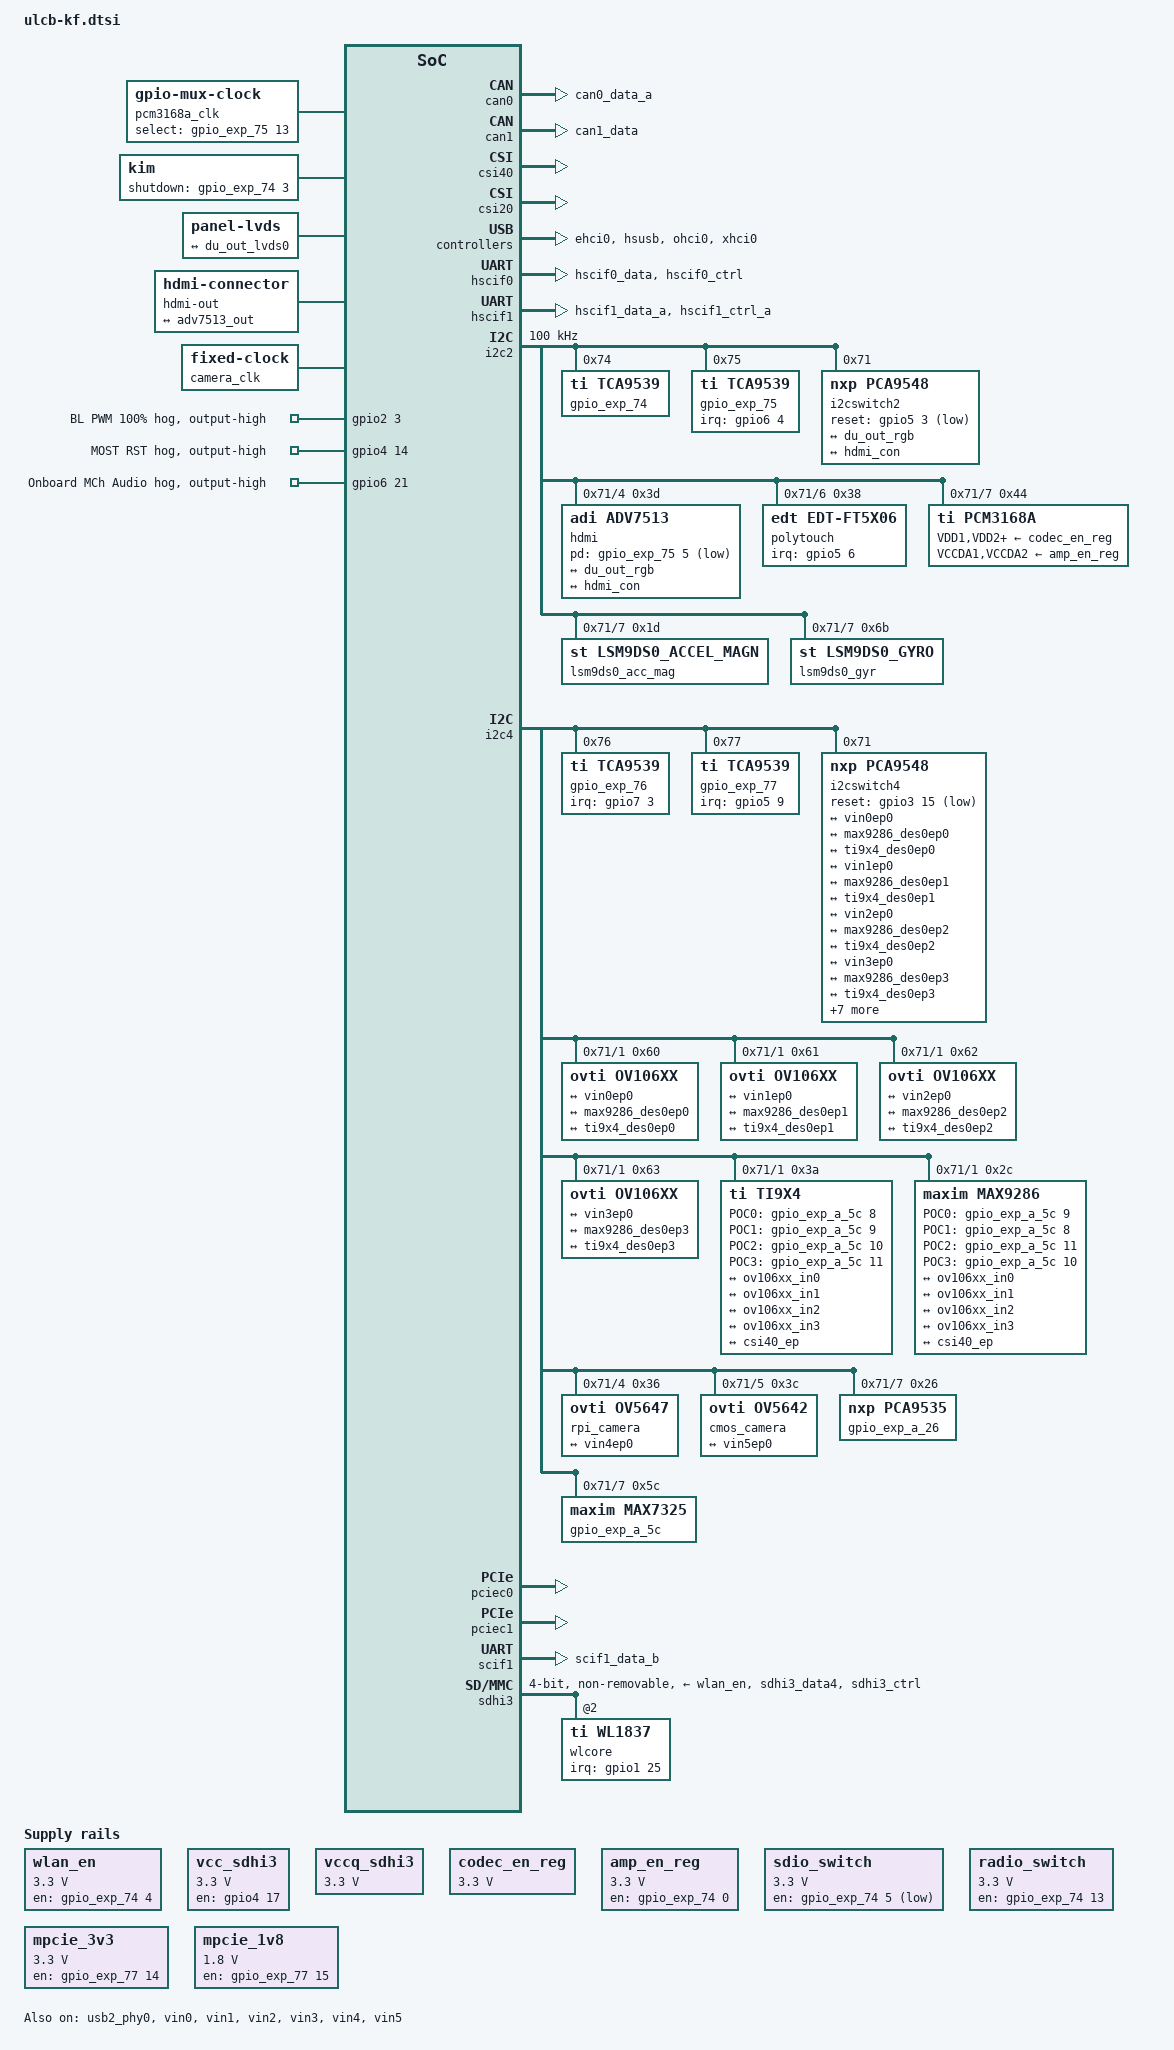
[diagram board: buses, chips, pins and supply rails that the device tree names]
/*
 * Device Tree Source for the Kingfisher (ULCB extension) board
 *
 * Copyright (C) 2017 Renesas Electronics Corp.
 * Copyright (C) 2017 Cogent Embedded, Inc.
 *
 * This file is licensed under the terms of the GNU General Public License
 * version 2.  This program is licensed "as is" without any warranty of any
 * kind, whether express or implied.
 */

/ {
	aliases {
		serial1 = &hscif0;
		serial2 = &scif1;
		serial3 = &hscif1;
	};

	pcm3168a_clk: pcm3168a_clk {
		compatible = "gpio-mux-clock";
		clocks = <&cs2000>, <&audio_clk_a>;
		#clock-cells = <0>;
		select-gpios = <&gpio_exp_75 13 GPIO_ACTIVE_HIGH>;
	};

	wlan_en: regulator@4 {
		compatible = "regulator-fixed";
		regulator-name = "wlan-en-regulator";

		regulator-min-microvolt = <3300000>;
		regulator-max-microvolt = <3300000>;

		gpio = <&gpio_exp_74 4 GPIO_ACTIVE_HIGH>;
		enable-active-high;
	};

	vcc_sdhi3: regulator@41 {
		compatible = "regulator-fixed";

		regulator-name = "SDHI3 Vcc";
		regulator-min-microvolt = <3300000>;
		regulator-max-microvolt = <3300000>;

		gpio = <&gpio4 17 GPIO_ACTIVE_HIGH>;
		enable-active-high;
	};

	vccq_sdhi3: regulator@5 {
		compatible = "regulator-fixed";

		regulator-name = "SDHI3 VccQ";
		regulator-min-microvolt = <3300000>;
		regulator-max-microvolt = <3300000>;
	};

	codec_en_reg: regulator@6 {
		compatible = "regulator-fixed";

		regulator-name = "PCM3168A Vcc Vdd";
		regulator-min-microvolt = <3300000>;
		regulator-max-microvolt = <3300000>;
	};

	amp_en_reg: regulator@7 {
		compatible = "regulator-fixed";
		regulator-name = "amp-en-regulator";
		regulator-min-microvolt = <3300000>;
		regulator-max-microvolt = <3300000>;

		gpio = <&gpio_exp_74 0 0>;

		startup-delay-us = <0>;
		enable-active-high;
	};

	sdio_switch: regulator@9 {
		compatible = "regulator-fixed";
		regulator-name = "wifi_on";
		regulator-min-microvolt = <3300000>;
		regulator-max-microvolt = <3300000>;
		gpio = <&gpio_exp_74 5 0>;
		enable-active-low;
		regulator-always-on;
	};

	radio_switch: regulator@11 {
		compatible = "regulator-fixed";
		regulator-name = "radio_on";
		regulator-min-microvolt = <3300000>;
		regulator-max-microvolt = <3300000>;
		gpio = <&gpio_exp_74 13 GPIO_ACTIVE_HIGH>;
		enable-active-high;
		regulator-always-on;
	};

	mpcie_3v3: regulator@12 {
		compatible = "regulator-fixed";
		regulator-name = "mPCIe 3v3";
		regulator-min-microvolt = <3300000>;
		regulator-max-microvolt = <3300000>;
		gpio = <&gpio_exp_77 14 GPIO_ACTIVE_HIGH>;
		enable-active-high;
	};

	mpcie_1v8: regulator@13 {
		compatible = "regulator-fixed";
		regulator-name = "mPCIe 1v8";
		regulator-min-microvolt = <1800000>;
		regulator-max-microvolt = <1800000>;
		gpio = <&gpio_exp_77 15 GPIO_ACTIVE_HIGH>;
		startup-delay-us = <200000>;
		enable-active-high;
	};

	kim {
		compatible = "kim";
		shutdown-gpios = <&gpio_exp_74 3 GPIO_ACTIVE_HIGH>;
		/* serial1 */
		dev_name = "/dev/ttySC1";
		flow_cntrl = <1>;
		/* int div 8 hscif@26.6666656MHz */
		baud_rate = <3333332>;
	};

	btwilink {
		compatible = "btwilink";
	};

	sound_ext: sound@0 {
		pinctrl-0 = <&sound_0_pins>;
		pinctrl-names = "default";
		compatible = "simple-audio-card";

		simple-audio-card,format = "left_j";
		simple-audio-card,name = "pcm3168a";

		simple-audio-card,bitclock-master = <&sound_ext_master>;
		simple-audio-card,frame-master = <&sound_ext_master>;
		sound_ext_master: simple-audio-card,cpu@0 {
			sound-dai = <&rcar_sound 0>;
			dai-tdm-slot-num = <8>;
			dai-tdm-slot-width = <32>;
		};

		simple-audio-card,codec@0 {
			sound-dai = <&pcm3168a>;
			dai-tdm-slot-num = <8>;
			dai-tdm-slot-width = <32>;
			system-clock-frequency = <24576000>;
		};
	};

	/delete-node/sound;

	rsnd_ak4613: sound@1 {
		pinctrl-0 = <&sound_pins>;
		pinctrl-names = "default";
		compatible = "simple-audio-card";

		simple-audio-card,format = "left_j";
		simple-audio-card,name = "ak4613";

		simple-audio-card,bitclock-master = <&sndcpu>;
		simple-audio-card,frame-master = <&sndcpu>;

		sndcpu: simple-audio-card,cpu@1 {
			sound-dai = <&rcar_sound 1>;
		};

		sndcodec: simple-audio-card,codec@1 {
			sound-dai = <&ak4613>;
		};
	};

	sound_radio: sound@2 {
		pinctrl-0 = <&sound_2_pins>;
		pinctrl-names = "default";
		compatible = "simple-audio-card";

		simple-audio-card,format = "i2s";
		simple-audio-card,name = "radio";

		simple-audio-card,bitclock-master = <&sound_radio_master>;
		simple-audio-card,frame-master = <&sound_radio_master>;
		simple-audio-card,cpu@2 {
			sound-dai = <&rcar_sound 2>;
		};

		sound_radio_master: simple-audio-card,codec@2 {
			sound-dai = <&radio>;
			system-clock-frequency = <12288000>;
		};
	};

	sound_wl18xx: sound@3 {
		pinctrl-0 = <&sound_3_pins>;
		pinctrl-names = "default";
		compatible = "simple-audio-card";

		simple-audio-card,format = "i2s";
		simple-audio-card,name = "wl18xx";

		simple-audio-card,bitclock-master = <&sound_wl18xx_master>;
		simple-audio-card,frame-master = <&sound_wl18xx_master>;
		sound_wl18xx_master: simple-audio-card,cpu@3 {
			sound-dai = <&rcar_sound 3>;
		};

		simple-audio-card,codec@3 {
			sound-dai = <&wl18xx_pcm>;
		};
	};

	lvds {
		compatible = "panel-lvds";

		width-mm = <210>;
		height-mm = <158>;

		data-mapping = "jeida-24";

		panel-timing {
			/* 1280x800 @60Hz */
			clock-frequency = <65000000>;
			hactive = <1280>;
			vactive = <800>;
			hsync-len = <40>;
			hfront-porch = <80>;
			hback-porch = <40>;
			vfront-porch = <14>;
			vback-porch = <14>;
			vsync-len = <4>;
		};

		port {
			lvds_in: endpoint {
				remote-endpoint = <&du_out_lvds0>;
			};
		};
	};

	hdmi-out {
		compatible = "hdmi-connector";
		type = "a";

		port {
			hdmi_con: endpoint {
				remote-endpoint = <&adv7513_out>;
			};
		};
	};

	radio: si468x@0 {
		compatible = "si,si468x-pcm";
		status = "okay";

		#sound-dai-cells = <0>;
	};

	wl18xx_pcm: wl18xx_pcm@0 {
		compatible = "ti,wl18xx-pcm";
		status = "okay";

		#sound-dai-cells = <0>;
	};

	camera_clk: camera_clk {
		compatible = "fixed-clock";
		#clock-cells = <0>;
		clock-frequency = <24000000>;
		clock-output-names = "mclk";
	};
};

&can0 {
	pinctrl-0 = <&can0_pins>;
	pinctrl-names = "default";
	status = "okay";
};

&can1 {
	pinctrl-0 = <&can1_pins>;
	pinctrl-names = "default";
	status = "okay";
};

&canfd {
	pinctrl-0 = <&canfd0_pins &canfd1_pins>;
	pinctrl-names = "default";
	status = "disabled";

	channel0 {
		status = "okay";
	};

	channel1 {
		status = "okay";
	};
};

&csi40 {
	status = "okay";

	virtual,channel {
		csi2_vc0 {
			data,type = "ycbcr422";
			receive,vc = <0>;
		};
		csi2_vc1 {
			data,type = "ycbcr422";
			receive,vc = <1>;
		};
		csi2_vc2 {
			data,type = "ycbcr422";
			receive,vc = <2>;
		};
		csi2_vc3 {
			data,type = "ycbcr422";
			receive,vc = <3>;
		};
	};

	port {
		#address-cells = <1>;
		#size-cells = <0>;

		csi40_ep: endpoint {
			clock-lanes = <0>;
			data-lanes = <1 2 3 4>;
			csi-rate = <300>;
		};
	};
};

&csi20 {
	status = "okay";

	virtual,channel {
		csi2_vc0 {
			data,type = "raw8";
			receive,vc = <0>;
		};
	};

	port {
		#address-cells = <1>;
		#size-cells = <0>;

		csi20_ep: endpoint {
			clock-lanes = <0>;
			data-lanes = <1 2>;
			csi-rate = <280>;
		};
	};
};

&du {
	pinctrl-0 = <&du_pins>;
	pinctrl-names = "default";
};

&ehci0 {
	status = "okay";
};

&gpio2 {
	bl_pwm {
		gpio-hog;
		gpios = <3 GPIO_ACTIVE_HIGH>;
		output-high;
		line-name = "BL PWM 100%";
	};
};

&gpio4 {
	most_rst {
		gpio-hog;
		gpios = <14 GPIO_ACTIVE_HIGH>;
		output-high;
		line-name = "MOST RST";
	};
};

&gpio6 {
	audio_sw {
		gpio-hog;
		gpios = <21 GPIO_ACTIVE_HIGH>;
		output-high;
		line-name = "Onboard MCh Audio";
	};
};

&hscif0 {
	pinctrl-0 = <&hscif0_pins>;
	pinctrl-names = "default";
	uart-has-rtscts;

	status = "okay";
};

&hscif1 {
	pinctrl-0 = <&hscif1_pins>;
	pinctrl-names = "default";

	status = "okay";
};

&hsusb {
	status = "okay";
};

&i2c2 {
	clock-frequency = <100000>;

	gpio_exp_74: gpio@74 {
		compatible = "ti,tca9539";
		reg = <0x74>;
		gpio-controller;
		#gpio-cells = <2>;
/*
		interrupt-controller;
		interrupt-parent = <&gpio6>;
		interrupts = <8 IRQ_TYPE_EDGE_FALLING>;
*/
		hub_pwen {
			gpio-hog;
			gpios = <6 GPIO_ACTIVE_HIGH>;
			output-high;
			line-name = "HUB pwen";
		};
		hub_rst {
			gpio-hog;
			gpios = <7 GPIO_ACTIVE_HIGH>;
			output-high;
			line-name = "HUB rst";
		};
		otg_offvbus {
			gpio-hog;
			gpios = <8 GPIO_ACTIVE_HIGH>;
			output-low;
			line-name = "OTG off VBUSn";
		};
		otg_extlpn {
			gpio-hog;
			gpios = <9 GPIO_ACTIVE_HIGH>;
			output-high;
			line-name = "OTG EXTLPn";
		};
		snd_rst {
			gpio-hog;
			gpios = <15 GPIO_ACTIVE_HIGH>;
			output-high;
			line-name = "pcm3168a reset";
		};
	};

	gpio_exp_75: gpio@75 {
		compatible = "ti,tca9539";
		reg = <0x75>;
		gpio-controller;
		#gpio-cells = <2>;
		interrupt-controller;
		interrupt-parent = <&gpio6>;
		interrupts = <4 IRQ_TYPE_EDGE_FALLING>;

		gps_rst {
			gpio-hog;
			gpios = <6 GPIO_ACTIVE_HIGH>;
			output-high;
			line-name = "GPS rst";
		};
		fpdl_shdn {
			gpio-hog;
			gpios = <9 GPIO_ACTIVE_HIGH>;
			output-high;
			line-name = "FPDLink shdn";
		};
	};

	i2cswitch2: i2c-switch@71 {
		compatible = "nxp,pca9548";
		#address-cells = <1>;
		#size-cells = <0>;
		reg = <0x71>;
		reset-gpios = <&gpio5 3 GPIO_ACTIVE_LOW>;
		i2c-mux-idle-disconnect;

		i2c@0 {
			#address-cells = <1>;
			#size-cells = <0>;
			reg = <0>;
			/* BCM node(s) */
		};

		i2c@1 {
			#address-cells = <1>;
			#size-cells = <0>;
			reg = <1>;
			/* USB3.0 HUB node(s) */
		};

		i2c@2 {
			#address-cells = <1>;
			#size-cells = <0>;
			reg = <2>;
			/* Power amp node(s) */
		};

		i2c@3 {
			#address-cells = <1>;
			#size-cells = <0>;
			reg = <3>;
			/* Radio node(s) */
		};

		i2c@4 {
			#address-cells = <1>;
			#size-cells = <0>;
			reg = <4>;

			hdmi@3d {
				compatible = "adi,adv7513";
				reg = <0x3d>;
//				interrupt-parent = <&gpio2>;
//				interrupts = <0 IRQ_TYPE_EDGE_BOTH>;
				pd-gpios = <&gpio_exp_75 5 GPIO_ACTIVE_LOW>;

				interlace-allowed;
				adi,input-depth = <8>;
				adi,input-colorspace = "rgb";
				adi,input-clock = "1x";
				adi,input-style = <1>;
				adi,input-justification = "evenly";
				adi,clock-delay = <1200>;

				limit-frequency = <100000000>;
//				lower-refresh = <50>;

				ports {
					#address-cells = <1>;
					#size-cells = <0>;

					port@0 {
						reg = <0>;
						adv7513_in: endpoint {
							remote-endpoint = <&du_out_rgb>;
						};
					};

					port@1 {
						reg = <1>;
						adv7513_out: endpoint {
							remote-endpoint = <&hdmi_con>;
						};
					};
				};
			};
		};

		i2c@5 {
			#address-cells = <1>;
			#size-cells = <0>;
			reg = <5>;
			/* PCIe node(s) */
		};

		i2c@6 {
			#address-cells = <1>;
			#size-cells = <0>;
			reg = <6>;
			/* LVDS display node(s) */

			polytouch: edt-ft5x06@38 {
				compatible = "edt,edt-ft5x06";
				reg = <0x38>;
				interrupt-parent = <&gpio5>;
				interrupts = <6 IRQ_TYPE_EDGE_FALLING>;
			};
		};

		i2c@7 {
			#address-cells = <1>;
			#size-cells = <0>;
			reg = <7>;
			/* Audio, GPS and Gyro node(s) */

			pcm3168a: audio-codec@44 {
				#sound-dai-cells = <0>;
				compatible = "ti,pcm3168a";
				reg = <0x44>;
				clocks = <&pcm3168a_clk>;
				clock-names = "scki";
				tdm;
				VDD1-supply = <&codec_en_reg>;
				VDD2-supply = <&codec_en_reg>;
				VCCAD1-supply = <&codec_en_reg>;
				VCCAD2-supply = <&codec_en_reg>;
				VCCDA1-supply = <&amp_en_reg>;
				VCCDA2-supply = <&amp_en_reg>;
			};

			lsm9ds0_acc_mag@1d {
				compatible = "st,lsm9ds0_accel_magn";
				reg = <0x1d>;
			};

			lsm9ds0_gyr@6b {
				compatible = "st,lsm9ds0_gyro";
				reg = <0x6b>;
			};

			/* GPS@ 0x42 */
		};
	};
};

&i2c4 {
	gpio_exp_76: gpio@76 {
		compatible = "ti,tca9539";
		reg = <0x76>;
		gpio-controller;
		#gpio-cells = <2>;
		interrupt-controller;
		interrupt-parent = <&gpio7>;
		interrupts = <3 IRQ_TYPE_EDGE_FALLING>;

		port_b_a0 {
			gpio-hog;
			gpios = <0 GPIO_ACTIVE_HIGH>;
			output-low;
			line-name = "Video-B A0";
		};
		port_b_a1 {
			gpio-hog;
			gpios = <1 GPIO_ACTIVE_HIGH>;
			output-high;
			line-name = "Video-B A1";
		};
		port_a_a0 {
			gpio-hog;
			gpios = <2 GPIO_ACTIVE_HIGH>;
			output-low;
			line-name = "Video-A A0";
		};
		port_a_a1 {
			gpio-hog;
			gpios = <3 GPIO_ACTIVE_HIGH>;
			output-high;
			line-name = "Video-A A1";
		};
		cmos_pwdn {
			gpio-hog;
			gpios = <8 GPIO_ACTIVE_HIGH>;
			output-high;
			line-name = "CMOS PWDN";
		};
		cmos_rst {
			gpio-hog;
			gpios = <9 GPIO_ACTIVE_HIGH>;
			output-high;
			line-name = "CMOS RST";
		};
		/* pin 12 - CAM_CLK */
		rpi_cam_io_1 {
			gpio-hog;
			gpios = <10 GPIO_ACTIVE_HIGH>;
			output-high;
			line-name = "RaspB_IO1";
		};
		/* pin 11 - CAM_GPIO - assume pwdn */
		rpi_cam_io_0 {
			gpio-hog;
			gpios = <11 GPIO_ACTIVE_HIGH>;
			output-high;
			line-name = "RaspB_IO0";
		};
		sam_rst {
			gpio-hog;
			gpios = <4 GPIO_ACTIVE_HIGH>;
			output-high;
			line-name = "SAM RST";
		};
		sam_pwr {
			gpio-hog;
			gpios = <5 GPIO_ACTIVE_HIGH>;
			output-low;
			line-name = "SAM PWR";
		};
		/* 0 - FPDLink output, 1 - LVDS output */
		lvds_vs_fpdl {
			gpio-hog;
			gpios = <14 GPIO_ACTIVE_HIGH>;
			output-high;
			line-name = "LVDS switch";
		};
	};

	gpio_exp_77: gpio@77 {
		compatible = "ti,tca9539";
		reg = <0x77>;
		gpio-controller;
		#gpio-cells = <2>;
		interrupt-controller;
		interrupt-parent = <&gpio5>;
		interrupts = <9 IRQ_TYPE_EDGE_FALLING>;

		mpcie_wake {
			gpio-hog;
			gpios = <0 GPIO_ACTIVE_HIGH>;
			output-low;
			line-name = "mPCIe WAKE#";
		};
		mpcie_wdisable {
			gpio-hog;
			gpios = <1 GPIO_ACTIVE_HIGH>;
			output-high;
			line-name = "mPCIe W_DISABLE";
		};
		mpcie_clreq {
			gpio-hog;
			gpios = <2 GPIO_ACTIVE_HIGH>;
			input;
			line-name = "mPCIe CLKREQ#";
		};
		mpcie_ovc {
			gpio-hog;
			gpios = <3 GPIO_ACTIVE_HIGH>;
			input;
			line-name = "mPCIe OVC";
		};
	};

	i2cswitch4: i2c-switch@71 {
		compatible = "nxp,pca9548";
		#address-cells = <1>;
		#size-cells = <0>;
		reg = <0x71>;
		reset-gpios= <&gpio3 15 GPIO_ACTIVE_LOW>;

		i2c@0 {
			#address-cells = <1>;
			#size-cells = <0>;
			reg = <0>;
			/* SAM node(s) */
		};

		i2c@1 {
			#address-cells = <1>;
			#size-cells = <0>;
			reg = <1>;
			/* Slot A (CN10) */

			ov106xx@0 {
				compatible = "ovti,ov106xx";
				reg = <0x60>;

				port@0 {
					ov106xx_in0: endpoint {
						clock-lanes = <0>;
						data-lanes = <1 2 3 4>;
						remote-endpoint = <&vin0ep0>;
					};
				};
				port@1 {
					ov106xx_max9286_des0ep0: endpoint@0 {
						remote-endpoint = <&max9286_des0ep0>;
					};
					ov106xx_ti9x4_des0ep0: endpoint@1 {
						remote-endpoint = <&ti9x4_des0ep0>;
					};
				};
			};

			ov106xx@1 {
				compatible = "ovti,ov106xx";
				reg = <0x61>;

				port@0 {
					ov106xx_in1: endpoint {
						clock-lanes = <0>;
						data-lanes = <1 2 3 4>;
						remote-endpoint = <&vin1ep0>;
					};
				};
				port@1 {
					ov106xx_max9286_des0ep1: endpoint@0 {
						remote-endpoint = <&max9286_des0ep1>;
					};
					ov106xx_ti9x4_des0ep1: endpoint@1 {
						remote-endpoint = <&ti9x4_des0ep1>;
					};
				};
			};

			ov106xx@2 {
				compatible = "ovti,ov106xx";
				reg = <0x62>;

				port@0 {
					ov106xx_in2: endpoint {
						clock-lanes = <0>;
						data-lanes = <1 2 3 4>;
						remote-endpoint = <&vin2ep0>;
					};
				};
				port@1 {
					ov106xx_max9286_des0ep2: endpoint@0 {
						remote-endpoint = <&max9286_des0ep2>;
					};
					ov106xx_ti9x4_des0ep2: endpoint@1 {
						remote-endpoint = <&ti9x4_des0ep2>;
					};
				};
			};

			ov106xx@3 {
				compatible = "ovti,ov106xx";
				reg = <0x63>;

				port@0 {
					ov106xx_in3: endpoint {
						clock-lanes = <0>;
						data-lanes = <1 2 3 4>;
						remote-endpoint = <&vin3ep0>;
					};
				};
				port@1 {
					ov106xx_max9286_des0ep3: endpoint@0 {
						remote-endpoint = <&max9286_des0ep3>;
					};
					ov106xx_ti9x4_des0ep3: endpoint@1 {
						remote-endpoint = <&ti9x4_des0ep3>;
					};
				};
			};

			/* DS90UB9x4 @ 0x3a */
			ti9x4@0 {
				compatible = "ti,ti9x4";
				reg = <0x3a>;
				ti,links = <4>;
				ti,lanes = <4>;
				ti,forwarding-mode = "round-robin";
				ti,cable-mode = "coax";

				POC0-gpios = <&gpio_exp_a_5c 8 GPIO_ACTIVE_HIGH>;
				POC1-gpios = <&gpio_exp_a_5c 9 GPIO_ACTIVE_HIGH>;
				POC2-gpios = <&gpio_exp_a_5c 10 GPIO_ACTIVE_HIGH>;
				POC3-gpios = <&gpio_exp_a_5c 11 GPIO_ACTIVE_HIGH>;

				port@0 {
					ti9x4_des0ep0: endpoint@0 {
						ti9x3-addr = <0x0c>;
						dvp-order = <0>;
						remote-endpoint = <&ov106xx_in0>;
					};
					ti9x4_des0ep1: endpoint@1 {
						ti9x3-addr = <0x0d>;
						dvp-order = <0>;
						remote-endpoint = <&ov106xx_in1>;
					};
					ti9x4_des0ep2: endpoint@2 {
						ti9x3-addr = <0x0e>;
						dvp-order = <0>;
						remote-endpoint = <&ov106xx_in2>;
					};
					ti9x4_des0ep3: endpoint@3 {
						ti9x3-addr = <0x0f>;
						dvp-order = <0>;
						remote-endpoint = <&ov106xx_in3>;
					};
				};
				port@1 {
					ti9x4_csi0ep0: endpoint {
						csi-rate = <1450>;
						remote-endpoint = <&csi40_ep>;
					};
				};
			};

			/* MAX9286 @ 0x2c */
			max9286@0 {
				compatible = "maxim,max9286";
				reg = <0x2c>;
				maxim,links = <4>;
				maxim,lanes = <4>;
				maxim,resetb-gpio = <1>;
				maxim,fsync-mode = "automatic";
				maxim,timeout = <100>;

				POC0-gpios = <&gpio_exp_a_5c 9 GPIO_ACTIVE_HIGH>;
				POC1-gpios = <&gpio_exp_a_5c 8 GPIO_ACTIVE_HIGH>;
				POC2-gpios = <&gpio_exp_a_5c 11 GPIO_ACTIVE_HIGH>;
				POC3-gpios = <&gpio_exp_a_5c 10 GPIO_ACTIVE_HIGH>;

				port@0 {
					max9286_des0ep0: endpoint@0 {
						max9271-addr = <0x50>;
						dvp-order = <1>;
						remote-endpoint = <&ov106xx_in0>;
					};
					max9286_des0ep1: endpoint@1 {
						max9271-addr = <0x51>;
						dvp-order = <1>;
						remote-endpoint = <&ov106xx_in1>;
					};
					max9286_des0ep2: endpoint@2 {
						max9271-addr = <0x52>;
						dvp-order = <1>;
						remote-endpoint = <&ov106xx_in2>;
					};
					max9286_des0ep3: endpoint@3 {
						max9271-addr = <0x53>;
						dvp-order = <1>;
						remote-endpoint = <&ov106xx_in3>;
					};
				};
				port@1 {
					max9286_csi0ep0: endpoint {
						csi-rate = <700>;
						remote-endpoint = <&csi40_ep>;
					};
				};
			};
		};

		i2c@3 {
			#address-cells = <1>;
			#size-cells = <0>;
			reg = <3>;
			/* MOST node(s) */
		};

		i2c@4 {
			#address-cells = <1>;
			#size-cells = <0>;
			reg = <4>;

			rpi_camera: ov5647@36 {
				compatible = "ovti,ov5647";
				reg = <0x36>;

				port@0 {
					rpi_camera_in: endpoint {
						clock-lanes = <0>;
						data-lanes = <1 2>;
						remote-endpoint = <&vin4ep0>;
					};
				};
			};
		};

		i2c@5 {
			#address-cells = <1>;
			#size-cells = <0>;
			reg = <5>;

			cmos_camera: ov5642@3c {
				compatible = "ovti,ov5642";
				reg = <0x3c>;
				clocks = <&camera_clk>;
				clock-names = "mclk";

				port@0 {
					cmos_camera_in: endpoint {
						remote-endpoint = <&vin5ep0>;
					};
				};
			};
		};

		i2c@7 {
			#address-cells = <1>;
			#size-cells = <0>;
			reg = <7>;
			/* Slot A (CN10) */

			/* PCA9535 is a redundant/deprecated card */
			gpio_exp_a_26: gpio@26 {
				compatible = "nxp,pca9535";
				reg = <0x26>;
				gpio-controller;
				#gpio-cells = <2>;

				video_a_des_cfg1 {
					gpio-hog;
					gpios = <5 GPIO_ACTIVE_HIGH>;
					input;
					line-name = "Video-A cfg1";
				};
				video_a_des_cfg0 {
					gpio-hog;
					gpios = <6 GPIO_ACTIVE_HIGH>;
					input;
					line-name = "Video-A cfg0";
				};
				video_a_pwr_shdn {
					gpio-hog;
					gpios = <3 GPIO_ACTIVE_HIGH>;
					output-high;
					line-name = "Video-A PWR_SHDN";
				};
				video_a_cam_pwr0 {
					gpio-hog;
					gpios = <12 GPIO_ACTIVE_HIGH>;
					output-high;
					line-name = "Video-A PWR0";
				};
				video_a_cam_pwr1 {
					gpio-hog;
					gpios = <13 GPIO_ACTIVE_HIGH>;
					output-high;
					line-name = "Video-A PWR1";
				};
				video_a_cam_pwr2 {
					gpio-hog;
					gpios = <14 GPIO_ACTIVE_HIGH>;
					output-high;
					line-name = "Video-A PWR2";
				};
				video_a_cam_pwr3 {
					gpio-hog;
					gpios = <15 GPIO_ACTIVE_HIGH>;
					output-high;
					line-name = "Video-A PWR3";
				};
				video_a_des_shdn {
					gpio-hog;
					gpios = <4 GPIO_ACTIVE_HIGH>;
					output-high;
					line-name = "Video-A DES_SHDN";
				};
				video_a_des_led {
					gpio-hog;
					gpios = <7 GPIO_ACTIVE_HIGH>;
					output-low;
					line-name = "Video-A led";
				};
			};

			gpio_exp_a_5c: gpio@5c {
				compatible = "maxim,max7325";
				reg = <0x5c>;
				gpio-controller;
				#gpio-cells = <2>;

				video_a_des_cfg2 {
					gpio-hog;
					gpios = <4 GPIO_ACTIVE_HIGH>;
					input;
					line-name = "Video-A cfg2";
				};
				video_a_des_cfg1 {
					gpio-hog;
					gpios = <6 GPIO_ACTIVE_HIGH>;
					input;
					line-name = "Video-A cfg1";
				};
				video_a_des_cfg0 {
					gpio-hog;
					gpios = <7 GPIO_ACTIVE_HIGH>;
					input;
					line-name = "Video-A cfg0";
				};
				video_a_pwr_shdn {
					gpio-hog;
					gpios = <14 GPIO_ACTIVE_HIGH>;
					output-high;
					line-name = "Video-A PWR_SHDN";
				};
				video_a_des_shdn {
					gpio-hog;
					gpios = <13 GPIO_ACTIVE_HIGH>;
					output-high;
					line-name = "Video-A DES_SHDN";
				};
				video_a_led {
					gpio-hog;
					gpios = <12 GPIO_ACTIVE_HIGH>;
					output-low;
					line-name = "Video-A LED";
				};
			};
		};
	};
};

&msiof1 {
	status = "disabled";
};

&ohci0 {
	status = "okay";
};

&pcie_bus_clk {
	clock-frequency = <100000000>;
	status = "okay";
};

&pciec0 {
	status = "okay";
};

&pciec1 {
	status = "okay";

	pcie3v3-supply = <&mpcie_3v3>;
	pcie1v8-supply = <&mpcie_1v8>;
};

&pfc {
	can0_pins: can0 {
		groups = "can0_data_a";
		function = "can0";
	};

	can1_pins: can1 {
		groups = "can1_data";
		function = "can1";
	};

	canfd0_pins: canfd0 {
		groups = "canfd0_data_a";
		function = "canfd0";
	};

	canfd1_pins: canfd1 {
		groups = "canfd1_data";
		function = "canfd1";
	};

	du_pins: du {
		groups = "du_rgb888", "du_sync", "du_clk_out_0", "du_disp";
		function = "du";
	};

	hscif0_pins: hscif0 {
		groups = "hscif0_data", "hscif0_ctrl";
		function = "hscif0";
	};

	hscif1_pins: hscif1 {
		groups = "hscif1_data_a", "hscif1_ctrl_a";
		function = "hscif1";
	};

	scif1_pins: scif1 {
		groups = "scif1_data_b";
		function = "scif1";
	};

	sdhi3_pins_3v3: sd3_3v3 {
		groups = "sdhi3_data4", "sdhi3_ctrl";
		function = "sdhi3";
		power-source = <3300>;
	};

	sdhi3_pins_1v8: sd3_1v8 {
		groups = "sdhi3_data4", "sdhi3_ctrl";
		function = "sdhi3";
		power-source = <1800>;
	};

	sound_0_pins: sound0 {
		groups = "ssi349_ctrl", "ssi3_data", "ssi4_data";
		function = "ssi";
	};

	/* sound_pins defined in H3 or M3 ulsb file */

	sound_2_pins: sound2 {
		groups = "ssi6_ctrl", "ssi6_data";
		function = "ssi";
	};

	sound_3_pins: sound3 {
		groups = "ssi78_ctrl", "ssi7_data", "ssi8_data";
		function = "ssi";
	};

	usb0_pins: usb0 {
		groups = "usb0";
		function = "usb0";
	};

	vin5_pins: vin5 {
		groups = "vin5_data8", "vin5_sync", "vin5_clk";
		function = "vin5";
	};
};

&rcar_sound {
	pinctrl-0 = <&sound_clk_pins>;
	pinctrl-names = "default";

	/* Multi DAI */
	#sound-dai-cells = <1>;

	rcar_sound,dai {
		dai0 {
			playback = <&ssi3>;
			capture  = <&ssi4>;
		};

		dai1 {
			playback = <&ssi0 &src0 &dvc0>;
			capture  = <&ssi1 &src1 &dvc1>;
		};

		dai2 {
			capture  = <&ssi6>;
		};

		dai3 {
			playback = <&ssi7>;
			capture  = <&ssi8>;
		};
	};
};

&scif1 {
	pinctrl-0 = <&scif1_pins>;
	pinctrl-names = "default";

	status = "okay";
};

&sdhi3 {
	pinctrl-0 = <&sdhi3_pins_3v3>;
	pinctrl-1 = <&sdhi3_pins_1v8>;
	pinctrl-names = "default", "state_uhs";

	vmmc-supply = <&wlan_en>;
	vqmmc-supply = <&vccq_sdhi3>;
	keep-power-in-suspend;
	enable-sdio-wakeup;
	bus-width = <4>;
	no-1-8-v;
	non-removable;
	cap-power-off-card;
	max-frequency = <50000000>;
	status = "okay";

	#address-cells = <1>;
	#size-cells = <0>;
	wlcore: wlcore@2 {
		compatible = "ti,wl1837";
		reg = <2>;
		interrupt-parent = <&gpio1>;
		interrupts = <25 IRQ_TYPE_EDGE_FALLING>;
	};
};

&ssi4 {
	shared-pin;
};

&ssi8 {
	shared-pin;
};

&usb2_phy0 {
	pinctrl-0 = <&usb0_pins>;
	pinctrl-names = "default";

	status = "okay";
};

&vin0 {
	status = "okay";

	ports {
		#address-cells = <1>;
		#size-cells = <0>;

		port@0 {
			vin0ep0: endpoint {
				csi,select = "csi40";
				virtual,channel = <0>;
				data-lanes = <1 2 3 4>;
				remote-endpoint = <&ov106xx_in0>;
			};
		};
		port@1 {
			csi0ep0: endpoint {
				remote-endpoint = <&csi40_ep>;
			};
		};
		port@2 {
			vin0_max9286_des0ep0: endpoint@0 {
				remote-endpoint = <&max9286_des0ep0>;
			};
			vin0_ti9x4_des0ep0: endpoint@1 {
				remote-endpoint = <&ti9x4_des0ep0>;
			};
		};
	};
};

&vin1 {
	status = "okay";

	ports {
		#address-cells = <1>;
		#size-cells = <0>;

		port@0 {
			vin1ep0: endpoint {
				csi,select = "csi40";
				virtual,channel = <1>;
				data-lanes = <1 2 3 4>;
				remote-endpoint = <&ov106xx_in1>;
			};
		};
		port@1 {
			csi0ep1: endpoint {
				remote-endpoint = <&csi40_ep>;
			};
		};
		port@2 {
			vin1_max9286_des0ep1: endpoint@0 {
				remote-endpoint = <&max9286_des0ep1>;
			};
			vin1_ti9x4_des0ep1: endpoint@1 {
				remote-endpoint = <&ti9x4_des0ep1>;
			};
		};
	};
};

&vin2 {
	status = "okay";

	ports {
		#address-cells = <1>;
		#size-cells = <0>;

		port@0 {
			vin2ep0: endpoint {
				csi,select = "csi40";
				virtual,channel = <2>;
				data-lanes = <1 2 3 4>;
				remote-endpoint = <&ov106xx_in2>;
			};
		};
		port@1 {
			csi0ep2: endpoint {
				remote-endpoint = <&csi40_ep>;
			};
		};
		port@2 {
			vin2_max9286_des0ep2: endpoint@0 {
				remote-endpoint = <&max9286_des0ep2>;
			};
			vin2_ti9x4_des0ep2: endpoint@1 {
				remote-endpoint = <&ti9x4_des0ep2>;
			};
		};
	};
};

&vin3 {
	status = "okay";

	ports {
		#address-cells = <1>;
		#size-cells = <0>;

		port@0 {
			vin3ep0: endpoint {
				csi,select = "csi40";
				virtual,channel = <3>;
				data-lanes = <1 2 3 4>;
				remote-endpoint = <&ov106xx_in3>;
			};
		};
		port@1 {
			csi0ep3: endpoint {
				remote-endpoint = <&csi40_ep>;
			};
		};
		port@2 {
			vin3_max9286_des0ep3: endpoint@0 {
				remote-endpoint = <&max9286_des0ep3>;
			};
			vin3_ti9x4_des0ep3: endpoint@1 {
				remote-endpoint = <&ti9x4_des0ep3>;
			};
		};
	};
};

&vin4 {
	status = "okay";

	ports {
		#address-cells = <1>;
		#size-cells = <0>;

		port@0 {
			vin4ep0: endpoint {
				csi,select = "csi20";
				virtual,channel = <0>;
				remote-endpoint = <&rpi_camera_in>;
				data-lanes = <1 2>;
			};
		};
		port@1 {
			csi2ep0: endpoint {
				remote-endpoint = <&csi20_ep>;
			};
		};
	};
};

&vin5 {
	pinctrl-0 = <&vin5_pins>;
	pinctrl-names = "default";
	status = "okay";

	ports {
		#address-cells = <1>;
		#size-cells = <0>;

		port@0 {
			vin5ep0: endpoint@0 {
				bus-width = <8>;
				/* #HSYNC, #VSYNC */
				vsync-active = <1>;
				hsync-active = <0>;
				remote-endpoint = <&cmos_camera_in>;
			};
		};
	};
};

&xhci0 {
	status = "okay";
};



